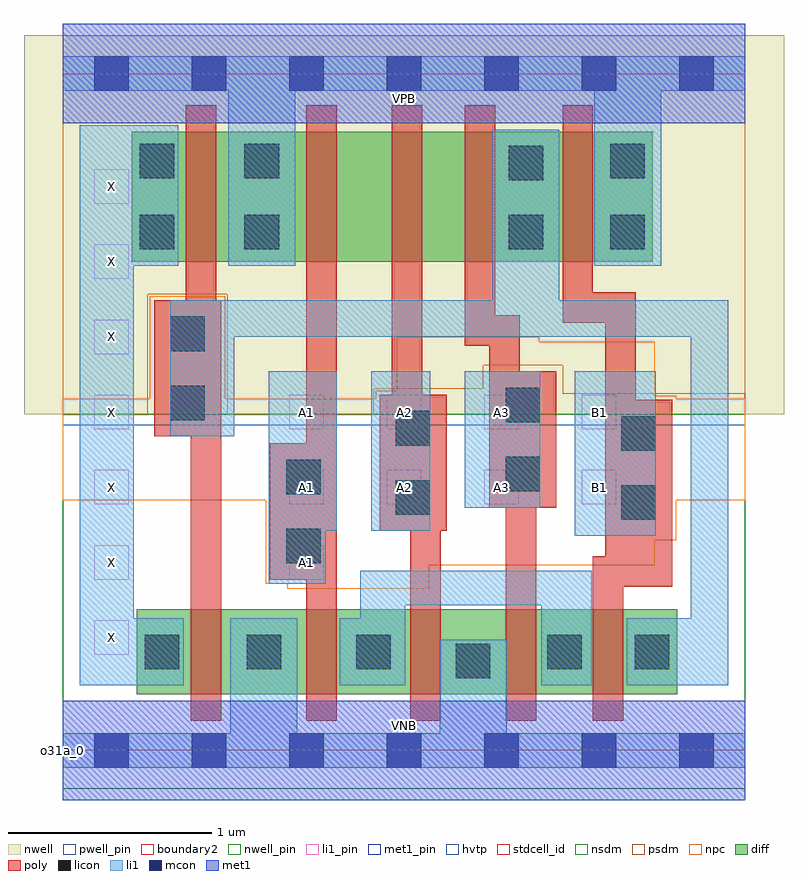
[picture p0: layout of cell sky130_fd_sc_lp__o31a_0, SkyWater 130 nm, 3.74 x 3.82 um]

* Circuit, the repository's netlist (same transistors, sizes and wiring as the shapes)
* Copyright 2020 The SkyWater PDK Authors
*
* Licensed under the Apache License, Version 2.0 (the "License");
* you may not use this file except in compliance with the License.
* You may obtain a copy of the License at
*
*     https://www.apache.org/licenses/LICENSE-2.0
*
* Unless required by applicable law or agreed to in writing, software
* distributed under the License is distributed on an "AS IS" BASIS,
* WITHOUT WARRANTIES OR CONDITIONS OF ANY KIND, either express or implied.
* See the License for the specific language governing permissions and
* limitations under the License.
*
* SPDX-License-Identifier: Apache-2.0

.SUBCKT sky130_fd_sc_lp__o31a_0 A1 A2 A3 B1 VGND VNB VPB VPWR X
*.PININFO A1:I A2:I A3:I B1:I VGND:I VNB:I VPB:I VPWR:I X:O
MMPA0 VPWR A1 sndA1 VPB sky130_fd_pr__pfet_01v8_hvt m=1 w=0.64U l=0.15U mult=1
+ sa=0.265 sb=0.265 sd=0.28 area=0.063 perim=1.14
MMPA1 sndA1 A2 sndA2 VPB sky130_fd_pr__pfet_01v8_hvt m=1 w=0.64U l=0.15U mult=1
+ sa=0.265 sb=0.265 sd=0.28 area=0.063 perim=1.14
MMPA2 sndA2 A3 y VPB sky130_fd_pr__pfet_01v8_hvt m=1 w=0.64U l=0.15U mult=1 sa=0.265
+ sb=0.265 sd=0.28 area=0.063 perim=1.14
MMPB0 VPWR B1 y VPB sky130_fd_pr__pfet_01v8_hvt m=1 w=0.64U l=0.15U mult=1 sa=0.265
+ sb=0.265 sd=0.28 area=0.063 perim=1.14
MMIPX X y VPWR VPB sky130_fd_pr__pfet_01v8_hvt m=1 w=0.64U l=0.15U mult=1 sa=0.265
+ sb=0.265 sd=0.28 area=0.063 perim=1.14
MMNA0 pndA A1 VGND VNB sky130_fd_pr__nfet_01v8 m=1 w=0.42U l=0.15U mult=1 sa=0.265
+ sb=0.265 sd=0.28 area=0.063 perim=1.14
MMNA1 pndA A2 VGND VNB sky130_fd_pr__nfet_01v8 m=1 w=0.42U l=0.15U mult=1 sa=0.265
+ sb=0.265 sd=0.28 area=0.063 perim=1.14
MMNA2 pndA A3 VGND VNB sky130_fd_pr__nfet_01v8 m=1 w=0.42U l=0.15U mult=1 sa=0.265
+ sb=0.265 sd=0.28 area=0.063 perim=1.14
MMNB0 y B1 pndA VNB sky130_fd_pr__nfet_01v8 m=1 w=0.42U l=0.15U mult=1 sa=0.265
+ sb=0.265 sd=0.28 area=0.063 perim=1.14
MMINX X y VGND VNB sky130_fd_pr__nfet_01v8 m=1 w=0.42U l=0.15U mult=1 sa=0.265
+ sb=0.265 sd=0.28 area=0.063 perim=1.14
.ENDS sky130_fd_sc_lp__o31a_0

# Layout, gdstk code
import gdstk
lib = gdstk.Library(unit=1e-6, precision=1e-09)
def R(c, l, rs):  # rectangles x0, y0, x1, y1
    for r in rs: c.add(gdstk.rectangle(r[:2], r[2:], *l))
def A(c, l, x, y, w, h, nx, ny, dx, dy):  # array of equal rectangles
    R(c, l, [(x+i*dx, y+j*dy, x+i*dx+w, y+j*dy+h) for i in range(nx) for j in range(ny)])
def P(c, l, *ps):  # polygons
    for p in ps: c.add(gdstk.Polygon(p, *l))
nwell_pin = (64, 16)
nwell = (64, 20)
diff = (65, 20)
poly = (66, 20)
licon = (66, 44)
li1_pin = (67, 16)
li1 = (67, 20)
mcon = (67, 44)
met1_pin = (68, 16)
met1 = (68, 20)
hvtp = (78, 44)
stdcell_id = (81, 4)
nsdm = (93, 44)
psdm = (94, 20)
npc = (95, 20)
pwell_pin = (122, 16)
boundary2 = (236, 0)

sky130_fd_sc_lp__o31a_0 = lib.new_cell('sky130_fd_sc_lp__o31a_0')
R(sky130_fd_sc_lp__o31a_0, nwell_pin, [(0,3.085,3.36,3.33)])
R(sky130_fd_sc_lp__o31a_0, nwell, [(-0.19,1.655,3.55,3.52)])
R(sky130_fd_sc_lp__o31a_0, diff, [(0.365,0.275,3.025,0.695), (0.34,2.405,2.905,3.045)])
P(sky130_fd_sc_lp__o31a_0, poly, [(0.78,2.215),(0.755,2.215),(0.755,3.175),(0.605,3.175),(0.605,2.215),(0.45,2.215),(0.45,1.545),(0.63,1.545),(0.63,0.145),(0.78,0.145)],
  [(1.35,3.175),(1.2,3.175),(1.2,1.51),(1.02,1.51),(1.02,0.84),(1.2,0.84),(1.2,0.145),(1.35,0.145)],
  [(1.89,1.75),(1.77,1.75),(1.77,3.175),(1.62,3.175),(1.62,1.75),(1.56,1.75),(1.56,1.08),(1.71,1.08),(1.71,0.145),(1.86,0.145),(1.86,1.08),(1.89,1.08)],
  [(2.43,1.865),(2.25,1.865),(2.25,2.14),(2.13,2.14),(2.13,3.175),(1.98,3.175),(1.98,1.99),(2.1,1.99),(2.1,1.195),(2.18,1.195),(2.18,0.145),(2.33,0.145),(2.33,1.195),(2.43,1.195)],
  [(3,1.725),(2.82,1.725),(2.82,2.255),(2.61,2.255),(2.61,3.175),(2.46,3.175),(2.46,2.105),(2.67,2.105),(2.67,0.955),(2.61,0.955),(2.61,0.145),(2.76,0.145),(2.76,0.805),(3,0.805)])
R(sky130_fd_sc_lp__o31a_0, licon, [(1.935,0.355,2.105,0.525), (0.405,0.4,0.575,0.57), (0.905,0.4,1.075,0.57), (1.445,0.4,1.615,0.57), (2.385,0.4,2.555,0.57), (2.815,0.4,2.985,0.57), (1.1,0.92,1.27,1.09), (2.75,1.135,2.92,1.305), (1.64,1.16,1.81,1.33), (1.1,1.26,1.27,1.43), (2.18,1.275,2.35,1.445), (2.75,1.475,2.92,1.645), (1.64,1.5,1.81,1.67), (2.18,1.615,2.35,1.785), (0.53,1.625,0.7,1.795), (0.53,1.965,0.7,2.135), (0.38,2.465,0.55,2.635), (0.895,2.465,1.065,2.635), (2.195,2.465,2.365,2.635), (2.695,2.465,2.865,2.635), (2.195,2.805,2.365,2.975), (0.38,2.815,0.55,2.985), (0.895,2.815,1.065,2.985), (2.695,2.815,2.865,2.985)])
A(sky130_fd_sc_lp__o31a_0, li1_pin, 0.155, 0.47, 0.17, 0.17, 1, 7, 0, 0.37)
A(sky130_fd_sc_lp__o31a_0, li1_pin, 1.115, 1.21, 0.17, 0.17, 4, 2, 0.48, 0.37)
R(sky130_fd_sc_lp__o31a_0, li1_pin, [(1.115,0.84,1.285,1.01)])
R(sky130_fd_sc_lp__o31a_0, li1, [(2.52,1.055,2.92,1.865), (1.52,1.08,1.81,1.865), (1.98,1.195,2.35,1.865)])
P(sky130_fd_sc_lp__o31a_0, li1, [(0.595,0.65),(0.35,0.65),(0.35,2.385),(0.57,2.385),(0.57,3.075),(0.085,3.075),(0.085,0.32),(0.595,0.32)],
  [(1.35,1.865),(1.015,1.865),(1.015,0.82),(1.295,0.82),(1.295,1.08),(1.35,1.08)],
  [(3.36,3.415),(0,3.415),(0,3.245),(0.815,3.245),(0.815,2.385),(1.145,2.385),(1.145,3.245),(2.615,3.245),(2.615,2.385),(2.945,2.385),(2.945,3.245),(3.36,3.245)],
  [(3.36,0.085),(2.185,0.085),(2.185,0.545),(1.855,0.545),(1.855,0.085),(1.155,0.085),(1.155,0.65),(0.825,0.65),(0.825,0.085),(0,0.085),(0,-0.085),(3.36,-0.085)],
  [(2.605,0.885),(1.465,0.885),(1.465,0.65),(1.365,0.65),(1.365,0.32),(1.685,0.32),(1.685,0.715),(2.355,0.715),(2.355,0.32),(2.605,0.32)],
  [(3.275,2.215),(2.445,2.215),(2.445,3.055),(2.115,3.055),(2.115,2.215),(0.53,2.215),(0.53,1.545),(0.845,1.545),(0.845,2.035),(3.09,2.035),(3.09,0.65),(2.775,0.65),(2.775,0.32),(3.275,0.32)])
A(sky130_fd_sc_lp__o31a_0, mcon, 0.155, -0.085, 0.17, 0.17, 7, 2, 0.48, 3.33)
R(sky130_fd_sc_lp__o31a_0, met1_pin, [(0,0,3.36,0.245), (0,3.085,3.36,3.33)])
R(sky130_fd_sc_lp__o31a_0, met1, [(0,-0.245,3.36,0.245), (0,3.085,3.36,3.575)])
R(sky130_fd_sc_lp__o31a_0, hvtp, [(0,1.6,3.36,3.33)])
R(sky130_fd_sc_lp__o31a_0, stdcell_id, [(0,0,3.36,3.33)])
R(sky130_fd_sc_lp__o31a_0, nsdm, [(0,-0.19,3.36,1.655)])
P(sky130_fd_sc_lp__o31a_0, psdm, [(3.36,3.52),(0,3.52),(0,1.655),(0.42,1.655),(0.42,2.245),(0.81,2.245),(0.81,1.655),(1.53,1.655),(1.53,1.78),(2.07,1.78),(2.07,1.895),(2.46,1.895),(2.46,1.755),(3.36,1.755)])
P(sky130_fd_sc_lp__o31a_0, npc, [(3.36,1.73),(3.02,1.73),(3.02,1.745),(2.915,1.745),(2.915,2.01),(2.345,2.01),(2.345,2.035),(1.645,2.035),(1.645,1.77),(1.54,1.77),(1.54,1.73),(0.8,1.73),(0.8,2.235),(0.43,2.235),(0.43,1.73),(0,1.73),(0,1.23),(1,1.23),(1,0.82),(1.105,0.82),(1.105,0.795),(1.805,0.795),(1.805,0.91),(2.915,0.91),(2.915,1.035),(3.02,1.035),(3.02,1.23),(3.36,1.23)])
R(sky130_fd_sc_lp__o31a_0, pwell_pin, [(0,0,3.36,0.245)])
R(sky130_fd_sc_lp__o31a_0, boundary2, [(0,0,3.36,3.33)])
sky130_fd_sc_lp__o31a_0.add(gdstk.Label('VNB', (1.68,0.123), layer=64, texttype=59))
sky130_fd_sc_lp__o31a_0.add(gdstk.Label('VPB', (1.68,3.208), layer=64, texttype=5))
sky130_fd_sc_lp__o31a_0.add(gdstk.Label('o31a_0', (0,0), layer=83, texttype=44))
sky130_fd_sc_lp__o31a_0.add(gdstk.Label('VPWR', (1.68,3.208), layer=68, texttype=5))
sky130_fd_sc_lp__o31a_0.add(gdstk.Label('VGND', (1.68,0.123), layer=68, texttype=5))
sky130_fd_sc_lp__o31a_0.add(gdstk.Label('A1', (1.2,0.925), layer=67, texttype=5))
sky130_fd_sc_lp__o31a_0.add(gdstk.Label('A1', (1.2,1.295), layer=67, texttype=5))
sky130_fd_sc_lp__o31a_0.add(gdstk.Label('A1', (1.2,1.665), layer=67, texttype=5))
sky130_fd_sc_lp__o31a_0.add(gdstk.Label('A2', (1.68,1.295), layer=67, texttype=5))
sky130_fd_sc_lp__o31a_0.add(gdstk.Label('A2', (1.68,1.665), layer=67, texttype=5))
sky130_fd_sc_lp__o31a_0.add(gdstk.Label('B1', (2.64,1.295), layer=67, texttype=5))
sky130_fd_sc_lp__o31a_0.add(gdstk.Label('B1', (2.64,1.665), layer=67, texttype=5))
sky130_fd_sc_lp__o31a_0.add(gdstk.Label('X', (0.24,0.555), layer=67, texttype=5))
sky130_fd_sc_lp__o31a_0.add(gdstk.Label('X', (0.24,0.925), layer=67, texttype=5))
sky130_fd_sc_lp__o31a_0.add(gdstk.Label('X', (0.24,1.295), layer=67, texttype=5))
sky130_fd_sc_lp__o31a_0.add(gdstk.Label('X', (0.24,1.665), layer=67, texttype=5))
sky130_fd_sc_lp__o31a_0.add(gdstk.Label('X', (0.24,2.035), layer=67, texttype=5))
sky130_fd_sc_lp__o31a_0.add(gdstk.Label('X', (0.24,2.405), layer=67, texttype=5))
sky130_fd_sc_lp__o31a_0.add(gdstk.Label('X', (0.24,2.775), layer=67, texttype=5))
sky130_fd_sc_lp__o31a_0.add(gdstk.Label('A3', (2.16,1.295), layer=67, texttype=5))
sky130_fd_sc_lp__o31a_0.add(gdstk.Label('A3', (2.16,1.665), layer=67, texttype=5))

lib.write_gds('sky130_fd_sc_lp__o31a_0.gds')
